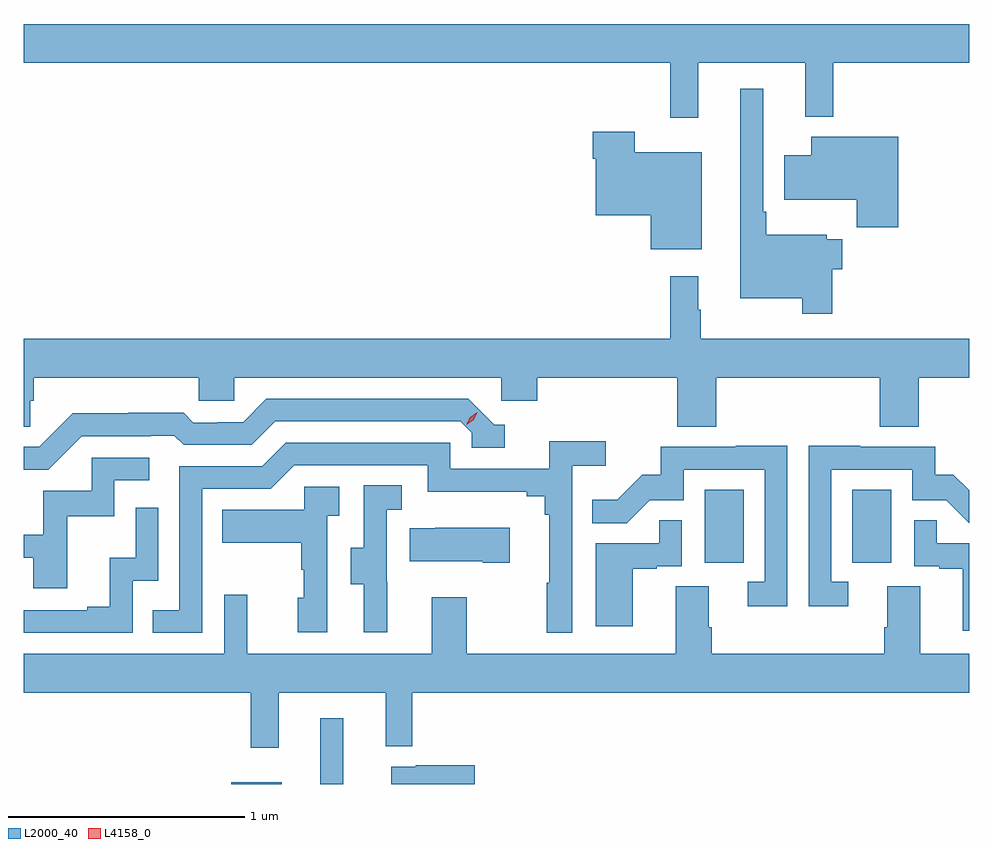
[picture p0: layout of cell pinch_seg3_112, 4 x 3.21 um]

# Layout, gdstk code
import gdstk
lib = gdstk.Library(unit=1e-6, precision=1e-09)
def R(c, l, rs):  # rectangles x0, y0, x1, y1
    for r in rs: c.add(gdstk.rectangle(r[:2], r[2:], *l))
def P(c, l, *ps):  # polygons
    for p in ps: c.add(gdstk.Polygon(p, *l))
L2000_40 = (2000, 40)
L4158_0 = (4158, 0)

pinch_seg3_112 = lib.new_cell('pinch_seg3_112')
R(pinch_seg3_112, L2000_40, [(1030.712,712.517,1030.927,712.525), (1031.09,712.517,1031.187,712.795), (1032.716,713.454,1032.88,713.761), (1033.34,713.454,1033.504,713.761)])
P(pinch_seg3_112, L2000_40, [(1032.689,715.568),(1033.142,715.568),(1033.142,715.34),(1033.259,715.34),(1033.259,715.568),(1033.835,715.568),(1033.835,715.732),(1029.835,715.732),(1029.835,715.568),(1032.571,715.568),(1032.571,715.335),(1032.689,715.335)],
  [(1033.256,714.694),(1033.297,714.694),(1033.297,714.821),(1033.233,714.821),(1033.233,714.841),(1032.976,714.841),(1032.976,714.937),(1032.963,714.937),(1032.963,715.459),(1032.866,715.459),(1032.866,714.572),(1033.128,714.572),(1033.128,714.507),(1033.256,714.507)],
  [(1032.703,715.189),(1032.42,715.189),(1032.42,715.276),(1032.242,715.276),(1032.242,715.163),(1032.254,715.163),(1032.254,714.923),(1032.488,714.923),(1032.488,714.779),(1032.703,714.779)],
  [(1033.535,715.255),(1033.166,715.255),(1033.166,715.177),(1033.052,715.177),(1033.052,714.989),(1033.359,714.989),(1033.359,714.873),(1033.535,714.873)],
  [(1029.863,714.138),(1029.878,714.138),(1029.878,714.236),(1030.575,714.236),(1030.575,714.138),(1030.725,714.138),(1030.725,714.236),(1031.856,714.236),(1031.856,714.138),(1032.007,714.138),(1032.007,714.236),(1032.599,714.236),(1032.599,714.028),(1032.764,714.028),(1032.764,714.236),(1033.457,714.236),(1033.457,714.028),(1033.622,714.028),(1033.622,714.236),(1033.835,714.236),(1033.835,714.4),(1032.7,714.4),(1032.7,714.524),(1032.688,714.524),(1032.688,714.664),(1032.571,714.664),(1032.571,714.4),(1029.835,714.4),(1029.835,714.028),(1029.863,714.028)],
  [(1030.08,713.988),(1030.373,713.988),(1030.373,713.991),(1030.472,713.991),(1030.511,713.952),(1030.8,713.952),(1030.899,714.051),(1031.682,714.051),(1031.73,714.003),(1031.73,713.94),(1031.869,713.94),(1031.869,714.036),(1031.826,714.036),(1031.715,714.147),(1030.862,714.147),(1030.763,714.048),(1030.656,714.048),(1030.656,714.045),(1030.553,714.045),(1030.511,714.088),(1030.278,714.088),(1030.278,714.085),(1030.042,714.085),(1029.9,713.943),(1029.835,713.943),(1029.835,713.847),(1029.939,713.847)],
  [(1030.59,713.766),(1030.881,713.766),(1030.98,713.865),(1031.544,713.865),(1031.544,713.753),(1031.963,713.753),(1031.963,713.734),(1032.04,713.734),(1032.04,713.657),(1032.059,713.657),(1032.059,713.369),(1032.048,713.369),(1032.048,713.157),(1032.156,713.157),(1032.156,713.864),(1032.298,713.864),(1032.298,713.966),(1032.059,713.966),(1032.059,713.85),(1031.64,713.85),(1031.64,713.961),(1030.943,713.961),(1030.844,713.862),(1030.494,713.862),(1030.494,713.253),(1030.381,713.253),(1030.381,713.157),(1030.59,713.157)],
  [(1033.065,713.948),(1032.847,713.948),(1032.847,713.943),(1032.529,713.943),(1032.529,713.826),(1032.452,713.826),(1032.345,713.719),(1032.241,713.719),(1032.241,713.62),(1032.385,713.62),(1032.483,713.718),(1032.627,713.718),(1032.627,713.847),(1032.969,713.847),(1032.969,713.373),(1032.897,713.373),(1032.897,713.268),(1033.065,713.268)],
  [(1033.324,713.373),(1033.251,713.373),(1033.251,713.847),(1033.593,713.847),(1033.593,713.718),(1033.737,713.718),(1033.835,713.62),(1033.835,713.759),(1033.768,713.826),(1033.692,713.826),(1033.692,713.943),(1033.373,713.943),(1033.373,713.948),(1033.155,713.948),(1033.155,713.268),(1033.324,713.268)],
  [(1030.019,713.649),(1030.218,713.649),(1030.218,713.802),(1030.366,713.802),(1030.366,713.898),(1030.122,713.898),(1030.122,713.757),(1029.917,713.757),(1029.917,713.571),(1029.835,713.571),(1029.835,713.475),(1029.875,713.475),(1029.875,713.346),(1030.019,713.346)],
  [(1031.372,713.373),(1031.37,713.373),(1031.37,713.677),(1031.434,713.677),(1031.434,713.78),(1031.274,713.78),(1031.274,713.517),(1031.219,713.517),(1031.219,713.362),(1031.273,713.362),(1031.273,713.16),(1031.372,713.16)],
  [(1031.118,713.651),(1031.17,713.651),(1031.17,713.775),(1031.022,713.775),(1031.022,713.677),(1030.675,713.677),(1030.675,713.537),(1031.01,713.537),(1031.01,713.423),(1031.02,713.423),(1031.02,713.304),(1030.994,713.304),(1030.994,713.16),(1031.118,713.16)],
  [(1030.296,713.376),(1030.404,713.376),(1030.404,713.686),(1030.308,713.686),(1030.308,713.474),(1030.199,713.474),(1030.199,713.266),(1030.103,713.266),(1030.103,713.253),(1029.835,713.253),(1029.835,713.157),(1030.296,713.157)],
  [(1033.835,713.535),(1033.697,713.535),(1033.697,713.633),(1033.602,713.633),(1033.602,713.439),(1033.709,713.439),(1033.709,713.427),(1033.808,713.427),(1033.808,713.166),(1033.835,713.166)],
  [(1032.412,713.427),(1032.512,713.427),(1032.512,713.439),(1032.618,713.439),(1032.618,713.633),(1032.523,713.633),(1032.523,713.535),(1032.254,713.535),(1032.254,713.184),(1032.412,713.184)],
  [(1031.89,713.602),(1031.575,713.602),(1031.575,713.599),(1031.467,713.599),(1031.467,713.459),(1031.777,713.459),(1031.777,713.452),(1031.89,713.452)],
  [(1030.913,712.904),(1031.366,712.904),(1031.366,712.676),(1031.479,712.676),(1031.479,712.904),(1033.835,712.904),(1033.835,713.068),(1033.627,713.068),(1033.627,713.354),(1033.487,713.354),(1033.487,713.18),(1033.475,713.18),(1033.475,713.068),(1032.746,713.068),(1032.746,713.18),(1032.733,713.18),(1032.733,713.354),(1032.593,713.354),(1032.593,713.068),(1031.709,713.068),(1031.709,713.308),(1031.561,713.308),(1031.561,713.068),(1030.781,713.068),(1030.781,713.317),(1030.683,713.317),(1030.683,713.068),(1029.835,713.068),(1029.835,712.904),(1030.795,712.904),(1030.795,712.671),(1030.913,712.671)],
  [(1031.743,712.596),(1031.494,712.596),(1031.494,712.591),(1031.39,712.591),(1031.39,712.517),(1031.743,712.517)])
P(pinch_seg3_112, L4158_0, [(1031.706,714.036),(1031.706,714.037),(1031.723,714.069),(1031.753,714.089),(1031.754,714.089),(1031.754,714.088),(1031.737,714.056),(1031.707,714.036)])

lib.write_gds('pinch_seg3_112.gds')
